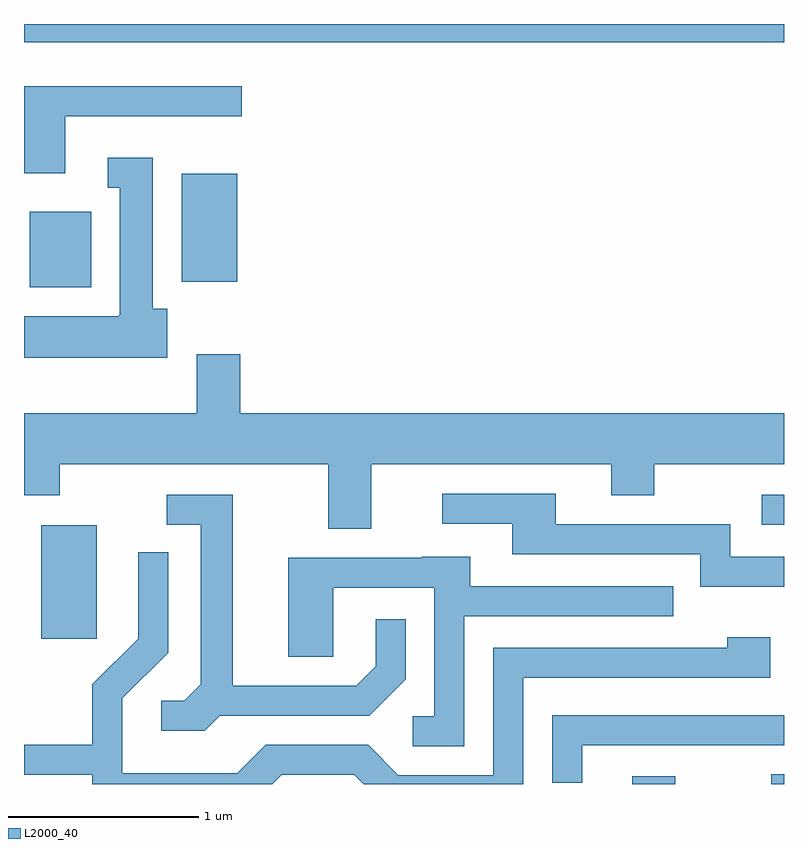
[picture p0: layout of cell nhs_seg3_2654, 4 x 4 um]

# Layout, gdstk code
import gdstk
lib = gdstk.Library(unit=1e-6, precision=1e-09)
def R(c, l, rs):  # rectangles x0, y0, x1, y1
    for r in rs: c.add(gdstk.rectangle(r[:2], r[2:], *l))
def P(c, l, *ps):  # polygons
    for p in ps: c.add(gdstk.Polygon(p, *l))
L2000_40 = (2000, 40)

nhs_seg3_2654 = lib.new_cell('nhs_seg3_2654')
R(nhs_seg3_2654, L2000_40, [(266.811,1119.892,267.039,1119.934), (267.543,1119.892,267.611,1119.944), (263.701,1120.656,263.994,1121.254), (267.493,1121.256,267.611,1121.414), (263.641,1122.506,263.964,1122.904), (264.441,1122.536,264.734,1123.104), (263.611,1123.796,267.611,1123.892)])
P(nhs_seg3_2654, L2000_40, [(263.829,1123.406),(264.758,1123.406),(264.758,1123.564),(263.611,1123.564),(263.611,1123.106),(263.829,1123.106)],
  [(264.364,1122.394),(264.289,1122.394),(264.289,1123.189),(264.053,1123.189),(264.053,1123.031),(264.116,1123.031),(264.116,1122.36),(264.11,1122.36),(264.11,1122.354),(263.611,1122.354),(263.611,1122.136),(264.364,1122.136)],
  [(265.439,1121.576),(266.701,1121.576),(266.701,1121.411),(266.929,1121.411),(266.929,1121.576),(267.611,1121.576),(267.611,1121.844),(264.749,1121.844),(264.749,1122.154),(264.521,1122.154),(264.521,1121.844),(263.611,1121.844),(263.611,1121.411),(263.799,1121.411),(263.799,1121.576),(265.211,1121.576),(265.211,1121.236),(265.439,1121.236)],
  [(267.611,1121.089),(267.329,1121.089),(267.329,1121.259),(266.409,1121.259),(266.409,1121.419),(265.813,1121.419),(265.813,1121.261),(266.181,1121.261),(266.181,1121.101),(267.171,1121.101),(267.171,1120.931),(267.611,1120.931)],
  [(264.642,1120.251),(265.427,1120.251),(265.619,1120.444),(265.619,1120.758),(265.461,1120.758),(265.461,1120.512),(265.359,1120.409),(264.709,1120.409),(264.709,1121.414),(264.363,1121.414),(264.363,1121.256),(264.541,1121.256),(264.541,1120.417),(264.454,1120.329),(264.333,1120.329),(264.333,1120.171),(264.562,1120.171)],
  [(264.967,1119.941),(265.349,1119.941),(265.398,1119.892),(266.239,1119.892),(266.239,1120.451),(267.539,1120.451),(267.539,1120.664),(267.311,1120.664),(267.311,1120.609),(266.081,1120.609),(266.081,1119.939),(265.582,1119.939),(265.422,1120.099),(264.884,1120.099),(264.734,1119.949),(264.129,1119.949),(264.129,1120.344),(264.369,1120.584),(264.369,1121.113),(264.211,1121.113),(264.211,1120.657),(263.971,1120.417),(263.971,1120.099),(263.611,1120.099),(263.611,1119.941),(263.971,1119.941),(263.971,1119.892),(264.918,1119.892)],
  [(265.929,1120.776),(267.028,1120.776),(267.028,1120.934),(265.959,1120.934),(265.959,1121.089),(265.705,1121.089),(265.705,1121.084),(265.001,1121.084),(265.001,1120.561),(265.239,1120.561),(265.239,1120.926),(265.771,1120.926),(265.771,1120.249),(265.658,1120.249),(265.658,1120.091),(265.929,1120.091)],
  [(266.549,1120.096),(267.611,1120.096),(267.611,1120.254),(266.391,1120.254),(266.391,1119.898),(266.549,1119.898)])

lib.write_gds('nhs_seg3_2654.gds')
